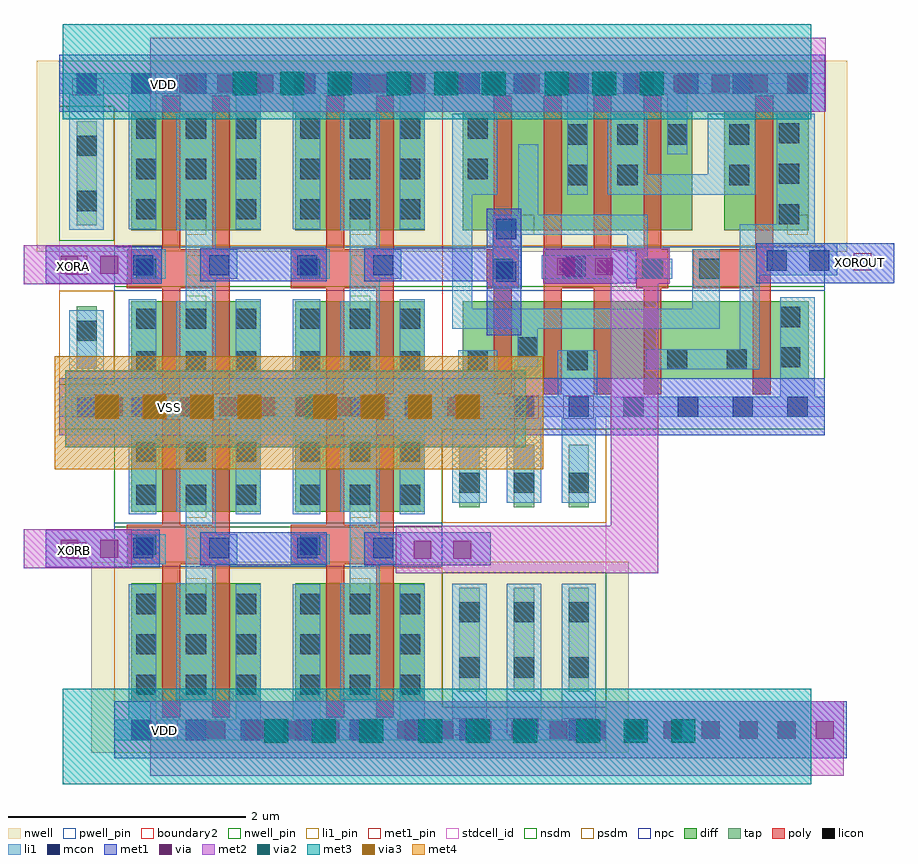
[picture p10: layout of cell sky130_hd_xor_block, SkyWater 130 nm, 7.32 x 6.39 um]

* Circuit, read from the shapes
.subckt sky130_hd_xor_block VDD VSS XORA XORB XOROUT
XM1 sky130_hd_inv_1_2/A XORB VSS VSS sky130_fd_pr__nfet_01v8 w=0.65 l=0.15 m=2
XM2 sky130_hd_inv_1_7/A XORA VSS VSS sky130_fd_pr__nfet_01v8 w=0.65 l=0.15 m=2
XM3 sky130_hd_xor2_1_8/A sky130_hd_inv_1_2/A VSS VSS sky130_fd_pr__nfet_01v8 w=0.65 l=0.15 m=2
XM4 sky130_hd_xor2_1_8/B sky130_hd_inv_1_7/A VSS VSS sky130_fd_pr__nfet_01v8 w=0.65 l=0.15 m=2
XM5 n1 sky130_hd_xor2_1_8/B VSS VSS sky130_fd_pr__nfet_01v8 w=0.65 l=0.15
XM6 VSS sky130_hd_xor2_1_8/A n1 VSS sky130_fd_pr__nfet_01v8 w=0.65 l=0.15
XM7 n2 sky130_hd_xor2_1_8/A VSS VSS sky130_fd_pr__nfet_01v8 w=0.65 l=0.15
XM8 XOROUT sky130_hd_xor2_1_8/B n2 VSS sky130_fd_pr__nfet_01v8 w=0.65 l=0.15
XM9 VSS n1 XOROUT VSS sky130_fd_pr__nfet_01v8 w=0.65 l=0.15
XM10 sky130_hd_inv_1_2/A XORB VDD VDD sky130_fd_pr__pfet_01v8 w=1 l=0.15 m=2
XM11 sky130_hd_inv_1_7/A XORA VDD VDD sky130_fd_pr__pfet_01v8 w=1 l=0.15 m=2
XM12 sky130_hd_xor2_1_8/A sky130_hd_inv_1_2/A VDD VDD sky130_fd_pr__pfet_01v8 w=1 l=0.15 m=2
XM13 sky130_hd_xor2_1_8/B sky130_hd_inv_1_7/A VDD VDD sky130_fd_pr__pfet_01v8 w=1 l=0.15 m=2
XM14 n3 sky130_hd_xor2_1_8/B n1 VDD sky130_fd_pr__pfet_01v8 w=1 l=0.15
XM15 VDD sky130_hd_xor2_1_8/A n3 VDD sky130_fd_pr__pfet_01v8 w=1 l=0.15
XM16 n4 sky130_hd_xor2_1_8/A VDD VDD sky130_fd_pr__pfet_01v8 w=1 l=0.15
XM17 VDD sky130_hd_xor2_1_8/B n4 VDD sky130_fd_pr__pfet_01v8 w=1 l=0.15
XM18 XOROUT n1 n4 VDD sky130_fd_pr__pfet_01v8 w=1 l=0.15
.ends

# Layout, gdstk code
from math import pi, radians
import gdstk
lib = gdstk.Library(unit=1e-6, precision=1e-09)
def R(c, l, rs):  # rectangles x0, y0, x1, y1
    for r in rs: c.add(gdstk.rectangle(r[:2], r[2:], *l))
def A(c, l, x, y, w, h, nx, ny, dx, dy):  # array of equal rectangles
    R(c, l, [(x+i*dx, y+j*dy, x+i*dx+w, y+j*dy+h) for i in range(nx) for j in range(ny)])
def P(c, l, *ps):  # polygons
    for p in ps: c.add(gdstk.Polygon(p, *l))
nwell_pin = (64, 16)
nwell = (64, 20)
diff = (65, 20)
tap = (65, 44)
poly = (66, 20)
licon = (66, 44)
li1_pin = (67, 16)
li1 = (67, 20)
mcon = (67, 44)
met1_pin = (68, 16)
met1 = (68, 20)
via = (68, 44)
met2 = (69, 20)
via2 = (69, 44)
met3 = (70, 20)
via3 = (70, 44)
met4 = (71, 20)
stdcell_id = (81, 4)
nsdm = (93, 44)
psdm = (94, 20)
npc = (95, 20)
pwell_pin = (122, 16)
boundary2 = (236, 0)

sky130_hd_tapvpwrvgnd_1 = lib.new_cell('sky130_hd_tapvpwrvgnd_1')
R(sky130_hd_tapvpwrvgnd_1, nwell, [(-0.19,1.305,0.65,2.91)])
R(sky130_hd_tapvpwrvgnd_1, tap, [(0.145,0.32,0.315,0.845), (0.145,1.525,0.315,2.4)])
R(sky130_hd_tapvpwrvgnd_1, licon, [(0.145,0.555,0.315,0.725), (0.145,1.645,0.315,1.815), (0.145,2.11,0.315,2.28)])
R(sky130_hd_tapvpwrvgnd_1, li1, [(0,-0.085,0.46,0.085), (0.085,0,0.375,0.81), (0.085,1.49,0.375,2.72), (0,2.635,0.46,2.805)])
R(sky130_hd_tapvpwrvgnd_1, mcon, [(0.145,-0.085,0.315,0.085), (0.145,2.635,0.315,2.805)])
R(sky130_hd_tapvpwrvgnd_1, met1_pin, [(0.105,-0.09,0.36,0.1), (0.11,2.62,0.375,2.765)])
R(sky130_hd_tapvpwrvgnd_1, met1, [(0,-0.24,0.46,0.24), (0,2.48,0.46,2.96)])
R(sky130_hd_tapvpwrvgnd_1, stdcell_id, [(0,0,0.46,2.72)])
R(sky130_hd_tapvpwrvgnd_1, nsdm, [(0,-0.19,0.46,0.19), (0,1.395,0.46,2.53)])
R(sky130_hd_tapvpwrvgnd_1, psdm, [(0,0.19,0.46,0.975), (0,2.53,0.46,2.91)])
sky130_hd_tapvpwrvgnd_1.add(gdstk.Label('VPWR', (0.23,2.72), layer=68, texttype=5))
sky130_hd_tapvpwrvgnd_1.add(gdstk.Label('VGND', (0.23,0), layer=68, texttype=5))

sky130_hd_inv_1 = lib.new_cell('sky130_hd_inv_1')
R(sky130_hd_inv_1, nwell_pin, [(0.145,2.635,0.315,2.805)])
R(sky130_hd_inv_1, nwell, [(-0.19,1.305,1.57,2.91)])
R(sky130_hd_inv_1, diff, [(0.145,0.235,1.235,0.885), (0.145,1.485,1.235,2.485)])
P(sky130_hd_inv_1, poly, [(0.405,0.105),(0.405,0.995),(0.105,0.995),(0.105,1.325),(0.405,1.325),(0.405,2.615),(0.555,2.615),(0.555,1.325),(0.825,1.325),(0.825,2.615),(0.975,2.615),(0.975,0.105),(0.825,0.105),(0.825,0.995),(0.555,0.995),(0.555,0.105)])
A(sky130_hd_inv_1, licon, 0.185, 0.295, 0.17, 0.17, 3, 2, 0.42, 0.36)
A(sky130_hd_inv_1, licon, 0.185, 1.575, 0.17, 0.17, 3, 3, 0.42, 0.34)
R(sky130_hd_inv_1, licon, [(0.185,1.075,0.355,1.245)])
R(sky130_hd_inv_1, li1_pin, [(0.605,0.765,0.775,0.935), (0.145,1.105,0.315,1.275), (0.615,1.105,0.785,1.275), (0.605,1.445,0.775,1.615)])
R(sky130_hd_inv_1, li1, [(0.105,1.075,0.435,1.325), (0.855,1.075,1.035,1.325)])
P(sky130_hd_inv_1, li1, [(0,-0.085),(0,0.085),(0.125,0.085),(0.125,0.905),(0.355,0.905),(0.355,0.085),(1.025,0.085),(1.025,0.905),(1.235,0.905),(1.235,0.085),(1.38,0.085),(1.38,-0.085)],
  [(0.125,1.495),(0.125,2.635),(0,2.635),(0,2.805),(1.38,2.805),(1.38,2.635),(1.235,2.635),(1.235,1.495),(1.025,1.495),(1.025,2.635),(0.355,2.635),(0.355,1.495)],
  [(0.525,0.255),(0.525,0.885),(0.605,0.885),(0.605,1.485),(0.525,1.485),(0.525,2.465),(0.855,2.465),(0.855,0.255)])
A(sky130_hd_inv_1, mcon, 0.145, -0.085, 0.17, 0.17, 3, 2, 0.46, 2.72)
R(sky130_hd_inv_1, mcon, [(0.16,1.105,0.33,1.275), (0.8,1.105,0.97,1.275)])
R(sky130_hd_inv_1, met1_pin, [(0.145,-0.085,0.315,0.085), (0.145,2.635,0.315,2.805)])
R(sky130_hd_inv_1, met1, [(0.725,1.055,1.79,1.335)])
R(sky130_hd_inv_1, stdcell_id, [(0,0,1.38,2.72)])
R(sky130_hd_inv_1, nsdm, [(0,-0.19,1.38,1.015)])
R(sky130_hd_inv_1, psdm, [(0,1.355,1.38,2.91)])
R(sky130_hd_inv_1, npc, [(0,0.975,1.38,1.345)])
R(sky130_hd_inv_1, pwell_pin, [(0.145,-0.085,0.315,0.085)])
sky130_hd_inv_1.add(gdstk.FlexPath([(0,0),(1.38,0)], 0.48, ends="flush", simple_path=True, layer=68, datatype=20))  # met1
sky130_hd_inv_1.add(gdstk.FlexPath([(0,2.72),(1.38,2.72)], 0.48, ends="flush", simple_path=True, layer=68, datatype=20))  # met1
sky130_hd_inv_1.add(gdstk.Label('VGND', (0.23,0), layer=68, texttype=5))
sky130_hd_inv_1.add(gdstk.Label('VPWR', (0.23,2.72), layer=68, texttype=5))
sky130_hd_inv_1.add(gdstk.Label('A', (0.23,1.19), layer=67, texttype=5))
sky130_hd_inv_1.add(gdstk.Label('Y', (0.69,0.85), layer=67, texttype=5))
sky130_hd_inv_1.add(gdstk.Label('Y', (0.7,1.195), layer=67, texttype=5))
sky130_hd_inv_1.add(gdstk.Label('Y', (0.69,1.53), layer=67, texttype=5))
sky130_hd_inv_1.add(gdstk.Label('VNB', (0.23,0), layer=64, texttype=59))
sky130_hd_inv_1.add(gdstk.Label('VPB', (0.23,2.72), layer=64, texttype=5))

sky130_hd_xor2_1 = lib.new_cell('sky130_hd_xor2_1')
R(sky130_hd_xor2_1, nwell_pin, [(0.145,2.635,0.315,2.805)])
R(sky130_hd_xor2_1, nwell, [(-0.19,1.305,3.41,2.91)])
R(sky130_hd_xor2_1, diff, [(0.175,0.235,3.085,0.885), (0.175,1.485,2.105,2.485), (2.375,1.485,3.085,2.485)])
P(sky130_hd_xor2_1, poly, [(2.615,0.105),(2.615,0.995),(2.115,0.995),(2.115,1.325),(2.635,1.325),(2.635,2.615),(2.785,2.615),(2.785,1.16),(2.765,1.16),(2.765,0.105)],
  [(0.855,0.105),(0.855,2.615),(1.005,2.615),(1.005,1.325),(1.275,1.325),(1.275,2.615),(1.425,2.615),(1.425,0.105),(1.275,0.105),(1.275,0.995),(1.005,0.995),(1.005,0.105)],
  [(0.435,0.105),(0.435,0.995),(0.375,0.995),(0.375,1.325),(0.435,1.325),(0.435,2.615),(0.585,2.615),(0.585,1.325),(0.645,1.325),(0.645,0.995),(0.585,0.995),(0.585,0.105)],
  [(1.695,0.105),(1.695,0.995),(1.635,0.995),(1.635,1.325),(1.695,1.325),(1.695,2.615),(1.845,2.615),(1.845,1.325),(1.905,1.325),(1.905,0.995),(1.845,0.995),(1.845,0.105)])
A(sky130_hd_xor2_1, licon, 2.835, 1.535, 0.17, 0.17, 1, 3, 0, 0.34)
A(sky130_hd_xor2_1, licon, 1.055, 2.205, 0.17, 0.17, 3, 1, 0.42, 0)
R(sky130_hd_xor2_1, licon, [(0.215,0.305,0.385,0.475), (1.055,0.305,1.225,0.475), (1.895,0.315,2.065,0.485), (2.395,0.315,2.565,0.485), (2.845,0.33,3.015,0.5), (0.635,0.415,0.805,0.585), (2.845,0.67,3.015,0.84), (0.425,1.075,0.595,1.245), (1.01,1.075,1.18,1.245), (1.685,1.075,1.855,1.245), (2.165,1.075,2.335,1.245), (1.055,1.865,1.225,2.035), (1.475,1.865,1.645,2.035), (2.415,1.865,2.585,2.035), (0.215,1.915,0.385,2.085), (2.415,2.205,2.585,2.375), (0.215,2.255,0.385,2.425)])
R(sky130_hd_xor2_1, li1_pin, [(1.065,1.105,1.235,1.275), (0.605,1.445,0.775,1.615), (2.905,1.445,3.075,1.615)])
R(sky130_hd_xor2_1, li1, [(0.84,1.075,1.39,1.275), (0.64,1.61,0.805,2.21)])
P(sky130_hd_xor2_1, li1, [(0,-0.085),(0,0.085),(0.135,0.085),(0.135,0.475),(0.465,0.475),(0.465,0.085),(0.975,0.085),(0.975,0.475),(1.305,0.475),(1.305,0.085),(2.845,0.085),(2.845,0.92),(3.135,0.92),(3.135,0.085),(3.22,0.085),(3.22,-0.085)],
  [(1.055,1.785),(1.055,2.635),(0,2.635),(0,2.805),(3.22,2.805),(3.22,2.635),(2.065,2.635),(2.065,2.125),(1.895,2.125),(1.895,2.635),(1.225,2.635),(1.225,1.785)],
  [(1.72,0.315),(1.72,0.485),(2.505,0.485),(2.505,1.535),(2.815,1.535),(2.815,2.465),(3.135,2.465),(3.135,1.365),(2.675,1.365),(2.675,0.315)],
  [(1.395,1.785),(1.395,2.465),(1.725,2.465),(1.725,1.955),(2.235,1.955),(2.235,2.465),(2.635,2.465),(2.635,1.785)],
  [(0.635,0.335),(0.635,0.655),(0.085,0.655),(0.085,2.465),(0.465,2.465),(0.465,1.785),(0.255,1.785),(0.255,0.825),(2.105,0.825),(2.105,1.325),(2.335,1.325),(2.335,0.655),(0.805,0.655),(0.805,0.335)],
  [(0.425,0.995),(0.425,1.615),(1.73,1.615),(1.73,1.245),(1.935,1.245),(1.935,1.075),(1.56,1.075),(1.56,1.445),(0.67,1.445),(0.67,0.995)])
A(sky130_hd_xor2_1, mcon, 0.145, -0.085, 0.17, 0.17, 7, 2, 0.46, 2.72)
R(sky130_hd_xor2_1, mcon, [(0.455,1.05,0.625,1.22), (1.04,1.095,1.21,1.265), (0.455,1.41,0.625,1.58)])
R(sky130_hd_xor2_1, met1_pin, [(0.145,-0.085,0.315,0.085), (0.145,2.635,0.315,2.805)])
R(sky130_hd_xor2_1, met1, [(0.375,0.6,0.665,1.665), (0.87,1.035,1.47,1.325)])
R(sky130_hd_xor2_1, stdcell_id, [(0,0,3.22,2.72)])
R(sky130_hd_xor2_1, nsdm, [(0,-0.19,3.22,1.015)])
R(sky130_hd_xor2_1, psdm, [(0,1.355,3.22,2.91)])
R(sky130_hd_xor2_1, npc, [(0,0.975,3.22,1.345)])
R(sky130_hd_xor2_1, pwell_pin, [(0.145,-0.085,0.315,0.085)])
R(sky130_hd_xor2_1, boundary2, [(0,0,3.22,2.72)])
sky130_hd_xor2_1.add(gdstk.FlexPath([(0,0),(3.22,0)], 0.48, ends="flush", simple_path=True, layer=68, datatype=20))  # met1
sky130_hd_xor2_1.add(gdstk.FlexPath([(0,2.72),(3.22,2.72)], 0.48, ends="flush", simple_path=True, layer=68, datatype=20))  # met1
sky130_hd_xor2_1.add(gdstk.FlexPath([(1.915,1.185),(0.85,1.185)], 0.3, ends="flush", simple_path=True, layer=69, datatype=20))  # met2
sky130_hd_xor2_1.add(gdstk.Label('VGND', (0.23,0), layer=68, texttype=5))
sky130_hd_xor2_1.add(gdstk.Label('VPWR', (0.23,2.72), layer=68, texttype=5))
sky130_hd_xor2_1.add(gdstk.Label('A', (1.15,1.19), layer=67, texttype=5))
sky130_hd_xor2_1.add(gdstk.Label('X', (2.99,1.53), layer=67, texttype=5))
sky130_hd_xor2_1.add(gdstk.Label('B', (0.69,1.53), layer=67, texttype=5))
sky130_hd_xor2_1.add(gdstk.Label('VNB', (0.23,0), layer=64, texttype=59))
sky130_hd_xor2_1.add(gdstk.Label('VPB', (0.23,2.72), layer=64, texttype=5))
sky130_hd_xor2_1.add(gdstk.Label('xor2_1', (0,0), layer=83, texttype=44))

sky130_hd_xor_block = lib.new_cell('sky130_hd_xor_block')
R(sky130_hd_xor_block, li1, [(1.98,0.755,2.63,1.025), (1.97,0.975,2.44,1.025), (0.11,1.26,0.115,1.86)])
R(sky130_hd_xor_block, mcon, [(2.035,0.795,2.205,0.965), (2.395,0.795,2.565,0.965)])
R(sky130_hd_xor_block, met1_pin, [(-3.095,-3.155,-2.92,-2.985), (-3.845,-1.63,-3.69,-1.49), (-3.04,-0.435,-2.895,-0.265), (-3.86,0.76,-3.68,0.92), (2.77,0.8,2.915,0.94), (-3.11,2.285,-2.925,2.455)])
R(sky130_hd_xor_block, met1, [(0.655,-3.31,2.71,-2.83), (-4.03,-1.7,-3.07,-1.385), (-4.03,0.685,-3.055,1.005), (0.21,0.69,0.94,0.97), (1.95,0.69,3.11,1.025)])
A(sky130_hd_xor_block, via, -2.67, -3.145, 0.15, 0.15, 17, 1, 0.32, 0)
A(sky130_hd_xor_block, via, -3.53, -0.425, 0.15, 0.15, 10, 1, 0.32, 0)
A(sky130_hd_xor_block, via, -2.905, 2.295, 0.15, 0.15, 17, 1, 0.32, 0)
R(sky130_hd_xor_block, via, [(-0.935,-1.63,-0.785,-1.48), (-0.6,-1.63,-0.45,-1.48), (-3.905,-1.62,-3.755,-1.47), (-3.57,-1.62,-3.42,-1.47), (0.27,0.755,0.42,0.905), (0.59,0.755,0.74,0.905), (-3.905,0.77,-3.755,0.92), (-3.57,0.77,-3.42,0.92)])
R(sky130_hd_xor_block, met2, [(-3.15,-3.455,2.685,-2.83), (-4.215,-1.71,-3.305,-1.38), (-3.86,-0.675,-0.085,-0.05), (-4.215,0.68,-3.305,1.01), (-3.15,2.13,2.535,2.755), (-3.15,2.13,2.535,2.755)])
A(sky130_hd_xor_block, via2, -2.19, -3.18, 0.2, 0.2, 3, 1, 0.4, 0)
A(sky130_hd_xor_block, via2, -0.895, -3.18, 0.2, 0.2, 3, 1, 0.4, 0)
A(sky130_hd_xor_block, via2, 0.435, -3.18, 0.2, 0.2, 3, 1, 0.4, 0)
A(sky130_hd_xor_block, via2, -3.615, -0.45, 0.2, 0.2, 4, 1, 0.4, 0)
A(sky130_hd_xor_block, via2, -1.38, -0.45, 0.2, 0.2, 3, 1, 0.4, 0)
A(sky130_hd_xor_block, via2, -2.455, 2.27, 0.2, 0.2, 3, 1, 0.4, 0)
A(sky130_hd_xor_block, via2, -1.16, 2.27, 0.2, 0.2, 3, 1, 0.4, 0)
A(sky130_hd_xor_block, via2, 0.17, 2.27, 0.2, 0.2, 3, 1, 0.4, 0)
R(sky130_hd_xor_block, via2, [(-1.845,-0.45,-1.645,-0.25)])
R(sky130_hd_xor_block, met3, [(-3.865,-0.69,0.01,-0.045)])
P(sky130_hd_xor_block, met3, [(-3.885,-3.525),(-3.885,-2.725),(1.945,-2.725),(2.41,-2.725),(2.41,-3.525)],
  [(-3.885,2.07),(-3.885,2.87),(1.945,2.87),(2.41,2.87),(2.41,2.07)])
A(sky130_hd_xor_block, via3, -3.615, -0.45, 0.2, 0.2, 4, 1, 0.4, 0)
A(sky130_hd_xor_block, via3, -1.78, -0.45, 0.2, 0.2, 4, 1, 0.4, 0)
R(sky130_hd_xor_block, met4, [(-3.955,-0.875,0.155,0.075)])
sky130_hd_xor_block.add(gdstk.FlexPath([(-1.84,-3.07),(-0.46,-3.07)], 0.48, ends="flush", simple_path=True, layer=68, datatype=20))  # met1
sky130_hd_xor_block.add(gdstk.FlexPath([(-1.085,-1.55),(0.925,-1.55),(0.925,0.855)], 0.4, ends="flush", simple_path=True, layer=69, datatype=20))  # met2
sky130_hd_xor_block.add(gdstk.Reference(sky130_hd_tapvpwrvgnd_1, (-3.915,-0.35)))
sky130_hd_xor_block.add(gdstk.Reference(sky130_hd_inv_1, (-3.455,-0.35), x_reflection=True))
sky130_hd_xor_block.add(gdstk.Reference(sky130_hd_inv_1, (-2.075,-0.35), x_reflection=True))
sky130_hd_xor_block.add(gdstk.Reference(sky130_hd_tapvpwrvgnd_1, (-0.235,-0.35), rotation=pi))
sky130_hd_xor_block.add(gdstk.Reference(sky130_hd_tapvpwrvgnd_1, (0.225,-0.35), rotation=pi))
sky130_hd_xor_block.add(gdstk.Reference(sky130_hd_tapvpwrvgnd_1, (0.685,-0.35), rotation=pi))
sky130_hd_xor_block.add(gdstk.Reference(sky130_hd_inv_1, (-3.455,-0.35)))
sky130_hd_xor_block.add(gdstk.Reference(sky130_hd_inv_1, (-2.075,-0.35)))
sky130_hd_xor_block.add(gdstk.Reference(sky130_hd_xor2_1, (-0.695,-0.35)))
sky130_hd_xor_block.add(gdstk.Label('XOROUT', (2.82,0.86), layer=68, texttype=16))
sky130_hd_xor_block.add(gdstk.Label('XORB', (-3.785,-1.56), layer=68, texttype=16))
sky130_hd_xor_block.add(gdstk.Label('VSS', (-2.99,-0.355), layer=68, texttype=16))
sky130_hd_xor_block.add(gdstk.Label('XORA', (-3.795,0.83), layer=68, texttype=16))
sky130_hd_xor_block.add(gdstk.Label('VDD', (-3.03,-3.075), layer=68, texttype=16))
sky130_hd_xor_block.add(gdstk.Label('VDD', (-3.04,2.36), layer=68, texttype=16))

lib.write_gds('sky130_hd_xor_block.gds')
